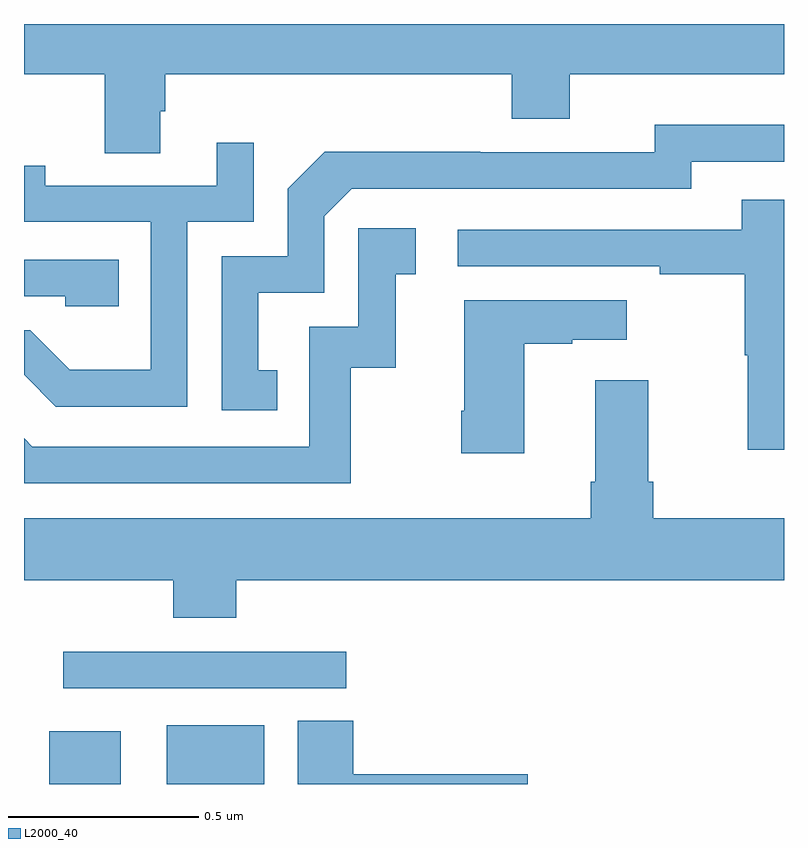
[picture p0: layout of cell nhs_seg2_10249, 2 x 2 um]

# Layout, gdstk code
import gdstk
lib = gdstk.Library(unit=1e-6, precision=1e-09)
def R(c, l, rs):  # rectangles x0, y0, x1, y1
    for r in rs: c.add(gdstk.rectangle(r[:2], r[2:], *l))
def P(c, l, *ps):  # polygons
    for p in ps: c.add(gdstk.Polygon(p, *l))
L2000_40 = (2000, 40)

nhs_seg2_10249 = lib.new_cell('nhs_seg2_10249')
R(nhs_seg2_10249, L2000_40, [(239.066,613.8,239.254,613.939), (239.375,613.8,239.632,613.954), (239.103,614.052,239.848,614.148)])
P(nhs_seg2_10249, L2000_40, [(239.359,615.57),(239.372,615.57),(239.372,615.668),(240.284,615.668),(240.284,615.551),(240.436,615.551),(240.436,615.668),(241,615.668),(241,615.8),(239,615.8),(239,615.668),(239.212,615.668),(239.212,615.46),(239.359,615.46)],
  [(239.666,614.889),(239.617,614.889),(239.617,615.093),(239.79,615.093),(239.79,615.294),(239.862,615.366),(240.756,615.366),(240.756,615.438),(241,615.438),(241,615.535),(240.66,615.535),(240.66,615.462),(240.2,615.462),(240.2,615.464),(239.792,615.464),(239.694,615.366),(239.694,615.189),(239.52,615.189),(239.52,614.784),(239.666,614.784)],
  [(239.43,615.279),(239.604,615.279),(239.604,615.487),(239.507,615.487),(239.507,615.375),(239.056,615.375),(239.056,615.427),(239,615.427),(239,615.279),(239.334,615.279),(239.334,614.89),(239.12,614.89),(239.016,614.994),(239,614.994),(239,614.877),(239.084,614.793),(239.43,614.793)],
  [(241,615.337),(240.889,615.337),(240.889,615.258),(240.141,615.258),(240.141,615.162),(240.673,615.162),(240.673,615.142),(240.897,615.142),(240.897,614.928),(240.904,614.928),(240.904,614.679),(241,614.679)],
  [(239.86,614.895),(239.978,614.895),(239.978,615.141),(240.031,615.141),(240.031,615.262),(239.88,615.262),(239.88,615.003),(239.751,615.003),(239.751,614.688),(239.022,614.688),(239,614.71),(239,614.592),(239.86,614.592)],
  [(239.249,615.18),(239,615.18),(239,615.084),(239.109,615.084),(239.109,615.057),(239.249,615.057)],
  [(240.316,614.959),(240.443,614.959),(240.443,614.969),(240.586,614.969),(240.586,615.073),(240.158,615.073),(240.158,614.782),(240.151,614.782),(240.151,614.67),(240.316,614.67)],
  [(239.558,614.336),(241,614.336),(241,614.5),(240.656,614.5),(240.656,614.596),(240.643,614.596),(240.643,614.863),(240.503,614.863),(240.503,614.596),(240.491,614.596),(240.491,614.5),(239,614.5),(239,614.336),(239.393,614.336),(239.393,614.237),(239.558,614.237)],
  [(240.325,613.826),(239.867,613.826),(239.867,613.967),(239.72,613.967),(239.72,613.8),(240.325,613.8)])

lib.write_gds('nhs_seg2_10249.gds')
